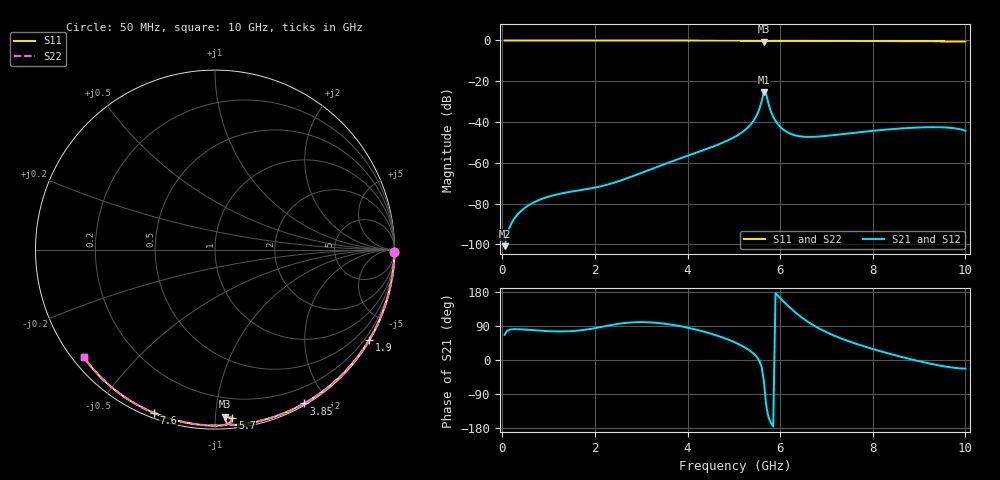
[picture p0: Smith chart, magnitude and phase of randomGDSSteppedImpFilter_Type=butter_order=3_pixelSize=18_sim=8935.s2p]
! freq	dB(S11)	phase(S11)	dB(S12)	phase(S12)
!  dB(S21)	phase(S21)	dB(S22)	phase(S22)
!S-par simulation data
#  GHz  S  DB  R 50
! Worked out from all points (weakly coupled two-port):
!   200 points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, 50 MHz to 10 GHz, reference 50 ohm
!   highest |S21| = -25.19 dB at 5.65 GHz (marker M1); lowest = -100.8 dB at 50 MHz (marker M2)
!   lowest |S11| = -0.6 dB at 5.65 GHz (marker M3), VSWR 28.52, Z = 3.71 - j52.8 ohm
!   |S11| at or under -10 dB: nowhere
!   |S22| runs from -0.6 to 0.0 dB; largest |S21 - S12| = 0
!   S11 on the Smith chart (normalised r, x): 50 MHz: open; 1.9 GHz: 0.03, -3.69; 3.85 GHz: 0.02, -1.73; 5.7 GHz: 0.07, -1.11; 7.6 GHz: 0.02, -0.69; 10 GHz: 0.03, -0.36
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0.05  -0.00 -0.8  -100.83 66.5  -100.83 66.5  -0.00 -0.8
0.6  -0.01 -9.7  -80.37 79.3  -80.37 79.3  -0.01 -9.7
1.1  -0.02 -17.7  -75.92 75.6  -75.92 75.6  -0.02 -17.7
1.75  -0.04 -28.0  -73.13 79.2  -73.13 79.2  -0.04 -28.0
1.9  -0.04 -30.4  -72.55 81.9  -72.55 81.9  -0.04 -30.3
3.4  -0.07 -53.3  -61.47 97.3  -61.47 97.3  -0.07 -53.3
3.85  -0.08 -59.9  -57.74 89.1  -57.74 89.1  -0.08 -59.9
5.05  -0.12 -77.2  -46.87 44.9  -46.87 44.9  -0.12 -77.2
5.3  -0.13 -80.8  -42.71 28.4  -42.71 28.4  -0.13 -80.8
5.45  -0.15 -83.1  -38.52 14.1  -38.52 14.1  -0.15 -83.1
5.55  -0.19 -85.0  -33.73 -2.0  -33.73 -2.0  -0.19 -85.0
5.65  -0.61 -86.7  -25.19 -57.1  -25.19 -57.1  -0.61 -86.7
5.7  -0.52 -84.1  -26.44 -121.4  -26.44 -121.4  -0.52 -84.1
5.75  -0.28 -85.0  -31.27 -151.6  -31.27 -151.6  -0.28 -85.0
5.85  -0.19 -87.0  -37.42 -175.5  -37.42 -175.5  -0.19 -87.0
6.05  -0.17 -90.1  -43.33 157.1  -43.33 157.1  -0.17 -90.1
6.3  -0.18 -93.6  -46.37 128.6  -46.37 128.6  -0.18 -93.6
6.7  -0.20 -98.9  -47.25 93.0  -47.25 93.0  -0.20 -98.9
7.6  -0.25 -110.6  -45.26 44.4  -45.26 44.4  -0.25 -110.5
8.35  -0.31 -120.0  -43.57 16.9  -43.57 16.9  -0.31 -120.0
9.4  -0.42 -133.1  -42.53 -13.6  -42.53 -13.6  -0.42 -133.1
10  -0.49 -140.8  -44.28 -22.5  -44.28 -22.5  -0.49 -140.7
